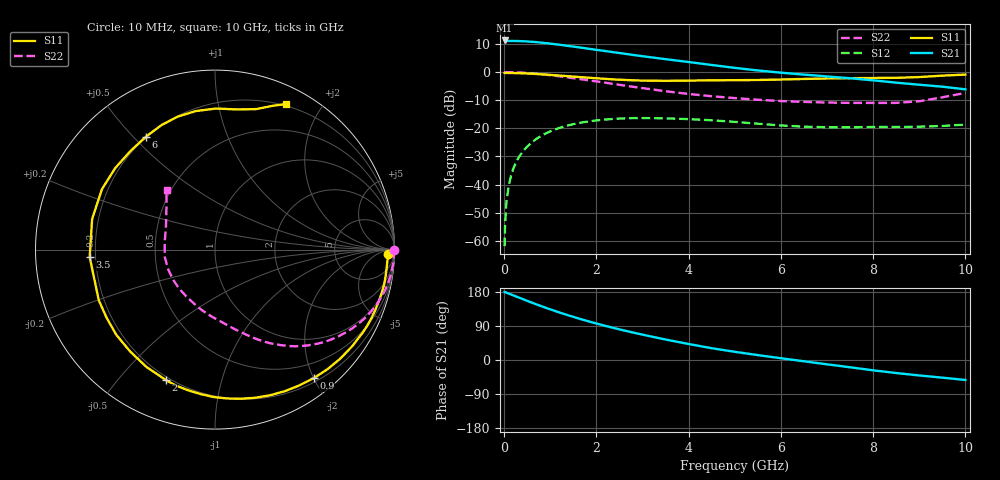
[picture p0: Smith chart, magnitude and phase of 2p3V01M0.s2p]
! (c) 2009  Infineon Technologies AG, Munich
! Infineon Technologies  Discrete & RF Semiconductors
! BFP420
! VCE =  3.0 V,  IC =  1.0 mA
! Common Emitter S-Parameters:  Nov 2009
# GHz  S  MA  R  50
!  f  S11  S21  S12  S22
! GHz  MAG  ANG  MAG  ANG  MAG  ANG  MAG  ANG
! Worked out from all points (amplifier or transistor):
!   46 points, 10 MHz to 10 GHz, reference 50 ohm
!   highest |S21| = 11.3 dB at 10 MHz (marker M1)
!   |S21| within 3 dB of that: start of sweep to 1.857 GHz
!   unconditionally stable (mu >= 1): 4.377 GHz to end of sweep
!   at 300 MHz: K = 0.02, MSG = 20.9 dB, |S12| = -30.8 dB
!   at 1.7 GHz: K = 0.27, MSG = 13.3 dB, |S12| = -17.9 dB
!   at 10 GHz: K = 1.36, MAG = 2.7 dB, |S12| = -18.7 dB
!   lowest NFmin = 0.53 dB at 900 MHz
!   S11 on the Smith chart (normalised r, x): 10 MHz: 37, -28; 900 MHz: 0.26, -2.00; 2 GHz: 0.18, -0.68; 3.5 GHz: 0.18, -0.03; 6 GHz: 0.20, +0.54; 10 GHz: 0.18, +1.59
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0.01  0.966 -1.5  3.654 179.4  0.0008 76.2  0.9981 -0.1
0.02  0.9631 -1.2  3.536 179.4  0.0019 91.5  0.9973 -0.6
0.05  0.9636 -2.6  3.553 177.6  0.0049 86.9  0.9975 -1.5
0.1  0.9618 -6.0  3.582 175.3  0.0096 86.7  0.9968 -3.2
0.2  0.9622 -11.7  3.581 170.5  0.0193 82.9  0.9927 -6.4
0.35  0.9544 -20.5  3.559 163.3  0.0335 77.8  0.9815 -11.1
0.6  0.9349 -35.2  3.459 151.4  0.0563 68.9  0.951 -18.8
0.9  0.9031 -52.5  3.278 137.9  0.0808 58.5  0.8999 -27.3
1.2  0.8674 -69.4  3.064 125.3  0.1017 48.9  0.8405 -35.1
1.4  0.8431 -80.3  2.913 117.5  0.1133 42.8  0.7999 -39.9
1.7  0.8086 -95.8  2.7 106.5  0.1275 34.4  0.7394 -46.3
2  0.7766 -110.6  2.487 96.4  0.1379 26.6  0.6824 -52.0
2.6  0.7266 -139.2  2.127 77.9  0.1501 12.5  0.5775 -62.3
3  0.7065 -156.4  1.917 66.9  0.1521 4.5  0.5192 -68.3
3.5  0.6994 -176.6  1.698 54.0  0.1503 -4.2  0.4567 -76.1
4  0.7056 166.0  1.51 42.2  0.1457 -11.2  0.4079 -84.2
4.5  0.7142 151.9  1.338 31.1  0.1388 -17.3  0.372 -93.3
5.5  0.7235 130.6  1.069 12.9  0.1207 -24.8  0.3218 -111.7
6  0.7375 121.4  0.976 4.7  0.1123 -25.8  0.3054 -121.9
7  0.7694 105.7  0.837 -11.4  0.1046 -24.5  0.2874 -144.0
8.5  0.7906 81.0  0.649 -34.4  0.1057 -23.5  0.2831 172.2
10  0.9028 63.9  0.494 -52.7  0.1163 -21.3  0.4266 129.3
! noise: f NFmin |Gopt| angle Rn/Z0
0.9  0.53  0.67  34  0.35
1.8  1.15  0.44  77  0.27
2.4  1.28  0.44  100  0.22
3  1.61  0.45  131  0.15
4  1.9  0.47  -177  0.09
5  2.32  0.44  -133  0.45
6  3.43  0.6  -118  0.25
